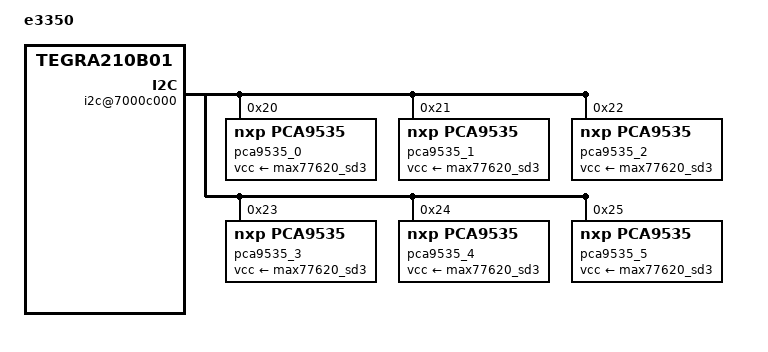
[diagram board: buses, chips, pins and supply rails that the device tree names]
/*
 * Copyright (c) 2017, NVIDIA CORPORATION.  All rights reserved.
 *
 * This program is free software; you can redistribute it and/or modify
 * it under the terms of the GNU General Public License as published by
 * the Free Software Foundation; version 2 of the License.
 *
 * This program is distributed in the hope that it will be useful, but WITHOUT
 * ANY WARRANTY; without even the implied warranty of MERCHANTABILITY or
 * FITNESS FOR A PARTICULAR PURPOSE.  See the GNU General Public License for
 * more details.
 *
 * You should have received a copy of the GNU General Public License along
 * with this program; if not, write to the Free Software Foundation, Inc.,
 * 51 Franklin Street, Fifth Floor, Boston, MA  02110-1301, USA.
 *
 */

/dts-v1/;

/memreserve/ 0x80000000 0x00020000;

#include "tegra210b01-ers-common.dtsi"
#include "tegra210b01-ers-e3350-display.dtsi"
#include "tegra210b01-ers-e3350-eeprom-manager.dtsi"

/ {
	model = "e3350";
	compatible = "nvidia,e3350", "nvidia,tegra210b01";
	nvidia,dtsfilename = __FILE__;
	nvidia,fastboot-usb-pid = <0x7100>;

	chosen {
		board-has-eeprom;
	};

	firmware {
		android {
			compatible = "android,firmware";
			hardware = "e3350";
		};
	};

	i2c@7000c000 {
		pca9535_0: pca9535@20 {
			compatible = "nxp,pca9535";
			gpio-controller;
			#gpio-cells = <2>;
			#size-cells = <2>;
			reg = <0x20>;
			vcc-supply = <&max77620_sd3>;
			status = "okay";
		};
		pca9535_1: pca9535@21 {
			compatible = "nxp,pca9535";
			gpio-controller;
			#gpio-cells = <2>;
			#size-cells = <2>;
			reg = <0x21>;
			vcc-supply = <&max77620_sd3>;
			status = "okay";
		};
		pca9535_2: pca9535@22 {
			compatible = "nxp,pca9535";
			gpio-controller;
			#gpio-cells = <2>;
			#size-cells = <2>;
			reg = <0x22>;
			vcc-supply = <&max77620_sd3>;
			status = "okay";
			pcie-atx-ctrl-high {
				gpio-hog;
				output-high;
				gpios = <11 0>;
				line-name = "pcie-atx-ctrl-high";
			};
		};
		pca9535_3: pca9535@23 {
			compatible = "nxp,pca9535";
			gpio-controller;
			#gpio-cells = <2>;
			#size-cells = <2>;
			reg = <0x23>;
			vcc-supply = <&max77620_sd3>;
			status = "okay";
		};
		pca9535_4: pca9535@24 {
			compatible = "nxp,pca9535";
			gpio-controller;
			#gpio-cells = <2>;
			#size-cells = <2>;
			reg = <0x24>;
			vcc-supply = <&max77620_sd3>;
			status = "okay";
		};
		pca9535_5: pca9535@25 {
			compatible = "nxp,pca9535";
			gpio-controller;
			#gpio-cells = <2>;
			#size-cells = <2>;
			reg = <0x25>;
			vcc-supply = <&max77620_sd3>;
			status = "okay";
			pcie-mux-output-low {
				gpio-hog;
				output-low;
				gpios = <7 0>;
				line-name = "pcie-mux-output-low";
			};
			pcie-mux-output-high {
				gpio-hog;
				output-high;
				gpios = <5 0 6 0>;
				line-name = "pcie-mux-output-high";
			};
		};
	};

	dummy_cool_dev: dummy-cool-dev {
		compatible = "dummy-cooling-dev";
		#cooling-cells = <2>; /* min followed by max */
	};

	platform-commands {
		compatible ="platform-init";
		status = "disabled";
		bootloader-status = "okay";

		/* Enable LDO5 and LDO6 */
		block@0 {
			type = "i2c";
			controller = <&i2c5>;
			device-address = <0x3C>;
			block-delay = <100>;
			commands = <0x2D 0xFF 0xF0
				    0x4B 0xC0 0xC0
				    0x2F 0xFF 0xD4
				    0x2C 0xC0 0xC0>;
		};
	};
};
